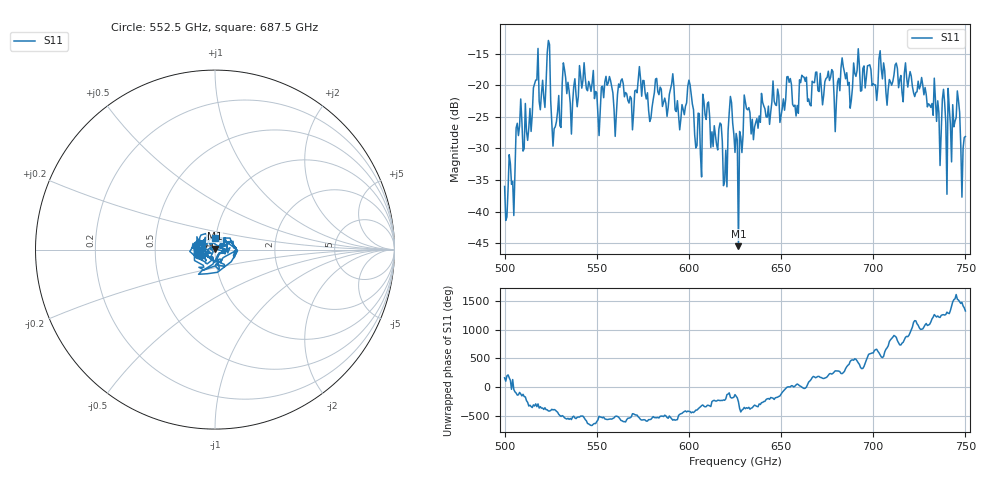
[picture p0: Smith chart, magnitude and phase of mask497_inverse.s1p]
!Created with skrf (http://scikit-rf.org).
# GHz S MA R 50.0
!freq magS11 angS11
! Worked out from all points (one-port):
!   401 points, 500 GHz to 750 GHz, reference 50 ohm
!   lowest |S11| = -45.5 dB at 626.9 GHz (marker M1), VSWR 1.01, Z = 49.9 + j0.516 ohm
!   |S11| at or under -10 dB: start of sweep to end of sweep
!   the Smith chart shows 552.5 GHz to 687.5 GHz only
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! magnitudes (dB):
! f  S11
! 500 GHz  -36.0
! 504.4 GHz  -35.2
! 507.5 GHz  -28.0
! 513.8 GHz  -23.7
! 516.9 GHz  -19.2
! 520.6 GHz  -19.2
! 523.8 GHz  -12.9
! 526.9 GHz  -26.9
! 531.2 GHz  -19.7
! 562.5 GHz  -20.3
! 579.4 GHz  -25.2
! 590.6 GHz  -19.8
! 593.8 GHz  -22.4
! 600.6 GHz  -19.9
! 605.6 GHz  -24.5
! 608.8 GHz  -24.7
! 619.4 GHz  -35.2
! 622.5 GHz  -21.8
! 625 GHz  -30.6
! 626.9 GHz  -45.5
! 631.2 GHz  -23.7
! 635 GHz  -28.6
! 656.2 GHz  -23.0
! 683.8 GHz  -17.0
! 687.5 GHz  -23.6
! 690.6 GHz  -18.6
! 718.8 GHz  -20.3
! 750 GHz  -28.1
